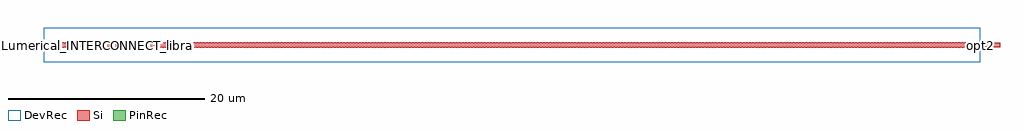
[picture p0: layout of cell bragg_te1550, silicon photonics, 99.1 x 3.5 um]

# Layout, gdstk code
import gdstk
lib = gdstk.Library(unit=1e-6, precision=1e-09)
def R(c, l, rs):  # rectangles x0, y0, x1, y1
    for r in rs: c.add(gdstk.rectangle(r[:2], r[2:], *l))
def A(c, l, x, y, w, h, nx, ny, dx, dy):  # array of equal rectangles
    R(c, l, [(x+i*dx, y+j*dy, x+i*dx+w, y+j*dy+h) for i in range(nx) for j in range(ny)])
Si = (1, 0)
PinRec = (1, 10)
DevRec = (68, 0)

bragg_te1550 = lib.new_cell('bragg_te1550')
A(bragg_te1550, Si, 0, -0.275, 0.158, 0.275, 300, 2, 0.317, 0.275)
A(bragg_te1550, Si, 0.158, -0.225, 0.159, 0.225, 300, 2, 0.317, 0.225)
R(bragg_te1550, Si, [(-2,-0.25,0,0.25), (95.1,-0.25,97.1,0.25)])
R(bragg_te1550, DevRec, [(0,-1.75,95.1,1.75)])
bragg_te1550.add(gdstk.FlexPath([(0.01,0),(-0.01,0)], 0.5, ends="flush", simple_path=True, layer=1, datatype=10))  # PinRec
bragg_te1550.add(gdstk.FlexPath([(95.09,0),(95.11,0)], 0.5, ends="flush", simple_path=True, layer=1, datatype=10))  # PinRec
bragg_te1550.add(gdstk.Label('Lumerical_INTERCONNECT_library=Design kits/ebeam', (0,0), layer=68, texttype=0))
bragg_te1550.add(gdstk.Label('Component=ebeam_bragg_te1550', (9.51,0), layer=68, texttype=0))
bragg_te1550.add(gdstk.Label('Spice_param:number_of_periods=300 grating_period=3.17e-07 corrugation_width=5e-08 misalignment=0 sinusoidal=0', (10.566,0), layer=68, texttype=0))
bragg_te1550.add(gdstk.Label('opt1', (0,0), layer=1, texttype=10))
bragg_te1550.add(gdstk.Label('opt2', (95.1,0), layer=1, texttype=10))

lib.write_gds('bragg_te1550.gds')
